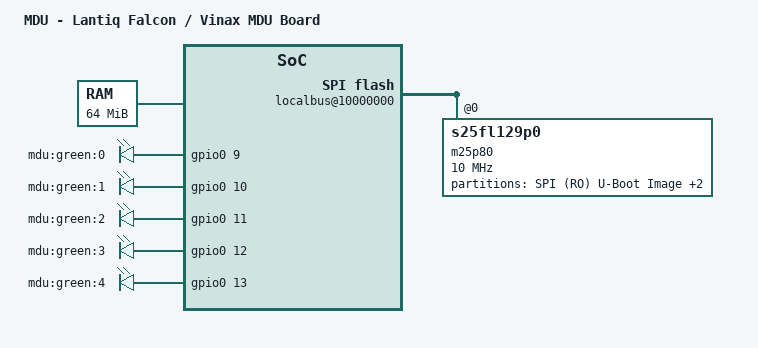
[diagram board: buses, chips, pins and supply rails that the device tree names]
/dts-v1/;

/include/ "falcon.dtsi"

/ {
	model = "MDU - Lantiq Falcon / Vinax MDU Board";

	chosen {
		// bootargs = "console=ttyLTQ0,115200 init=/etc/preinit";
	};

	memory@0 {
		reg = <0x0 0x4000000>;  // 64M at 0x0
	};

	localbus@10000000 {
		#address-cells = <1>;
		#size-cells = <1>;
		compatible = "lantiq,sflash-falcon", "simple-bus";
		busnum = <0>;

		m25p80@0 {
			#address-cells = <1>;
			#size-cells = <1>;
			compatible = "s25fl129p0";
			reg = <0 0>;
			linux,modalias = "m25p80", "s25fl129p0";
			linux,mtd-name = "sflash";
			spi-max-frequency = <10000000>;

			partition@0 {
				reg = <0x0 0x00080000>;
				label = "SPI (RO) U-Boot Image";
				read-only;
			};

			partition@80000 {
				reg = <0x00080000 0x00080000>;
				label = "SPI (RO) DTB Image";
				read-only;
			};

			partition@100000 {
				reg = <0x00100000 0x00400000>;
				label = "SPI (RO) Linux Kernel Image";
				read-only;
			};
		};
	};

	mdu-leds {
		compatible = "gpio-leds";
		pinctrl-names = "default";
		pinctrl-0 = <&bootled_pins>;

		LED_0 {
			label = "mdu:green:0";
			gpios = <&gpio0 9 0>;
			default-state = "keep";
		};
		LED_1 {
			label = "mdu:green:1";
			gpios = <&gpio0 10 0>;
			default-state = "keep";
		};
		LED_2 {
			label = "mdu:green:2";
			gpios = <&gpio0 11 0>;
			default-state = "keep";
		};
		LED_3 {
			label = "mdu:green:3";
			gpios = <&gpio0 12 0>;
			default-state = "keep";
		};
		LED_4 {
			label = "mdu:green:4";
			gpios = <&gpio0 13 0>;
			default-state = "keep";
		};
	};
};
